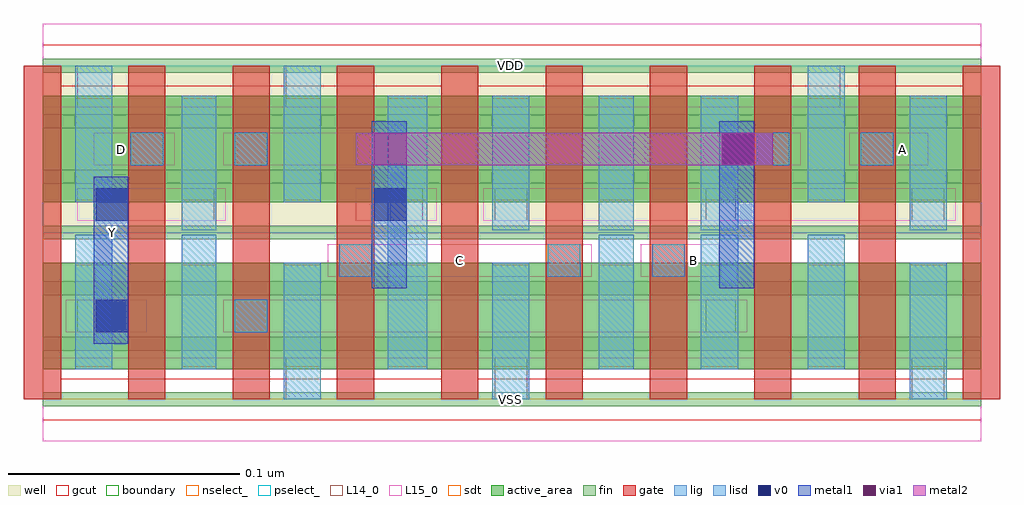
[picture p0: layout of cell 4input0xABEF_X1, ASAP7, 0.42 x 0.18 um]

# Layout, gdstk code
import gdstk
lib = gdstk.Library(unit=1e-6, precision=1e-09)
def R(c, l, rs):  # rectangles x0, y0, x1, y1
    for r in rs: c.add(gdstk.rectangle(r[:2], r[2:], *l))
def A(c, l, x, y, w, h, nx, ny, dx, dy):  # array of equal rectangles
    R(c, l, [(x+i*dx, y+j*dy, x+i*dx+w, y+j*dy+h) for i in range(nx) for j in range(ny)])
def P(c, l, *ps):  # polygons
    for p in ps: c.add(gdstk.Polygon(p, *l))
well = (1, 0)
fin = (2, 0)
gate = (7, 0)
gcut = (10, 0)
active_area = (11, 0)
nselect_ = (12, 0)
pselect_ = (13, 0)
L14_0 = (14, 0)
L15_0 = (15, 0)
lig = (16, 0)
lisd = (17, 0)
v0 = (18, 0)
metal1 = (19, 0)
metal2 = (20, 0)
via1 = (21, 0)
sdt = (88, 0)
boundary = (100, 0)

c_4input0xabef_x1 = lib.new_cell('4input0xABEF_X1')
R(c_4input0xabef_x1, well, [(0,0.072,0.405,0.144)])
A(c_4input0xabef_x1, fin, 0, -0.003, 0.405, 0.006, 1, 7, 0, 0.024)
A(c_4input0xabef_x1, gate, -0.008, 0, 0.016, 0.144, 10, 1, 0.045, 0)
P(c_4input0xabef_x1, gcut, [(0,-0.009),(0,0),(-0.008,0),(-0.008,0.135),(0.008,0.135),(0.008,0.009),(0.172,0.009),(0.172,0.135),(0.188,0.135),(0.188,0.009),(0.397,0.009),(0.397,0.135),(-0.008,0.135),(-0.008,0.144),(0,0.144),(0,0.153),(0.405,0.153),(0.405,0.144),(0.413,0.144),(0.413,0),(0.405,0),(0.405,-0.009)])
R(c_4input0xabef_x1, active_area, [(0,0.013,0.405,0.059), (0,0.085,0.405,0.131)])
R(c_4input0xabef_x1, nselect_, [(0,0,0.405,0.072)])
R(c_4input0xabef_x1, pselect_, [(0,0.072,0.405,0.144)])
R(c_4input0xabef_x1, L14_0, [(0.105,0,0.12,0.018), (0.195,0,0.209,0.018), (0.375,0,0.389,0.018), (0.015,0.029,0.03,0.043), (0.083,0.029,0.097,0.043), (0.286,0.029,0.299,0.043), (0.128,0.053,0.142,0.067), (0.218,0.053,0.232,0.067), (0.263,0.053,0.277,0.067), (0.06,0.077,0.074,0.091), (0.15,0.077,0.164,0.091), (0.195,0.077,0.209,0.091), (0.286,0.077,0.299,0.091), (0.375,0.077,0.389,0.091), (0.038,0.101,0.052,0.115), (0.083,0.101,0.097,0.115), (0.24,0.101,0.254,0.115), (0.308,0.101,0.322,0.115), (0.353,0.101,0.367,0.115), (0.015,0.126,0.03,0.144), (0.105,0.126,0.12,0.144), (0.33,0.126,0.344,0.144)])
R(c_4input0xabef_x1, L15_0, [(0,-0.018,0.405,0.018), (0.01,0.029,0.045,0.043), (0.078,0.029,0.304,0.043), (0.123,0.053,0.237,0.067), (0.258,0.053,0.292,0.067), (0.015,0.077,0.079,0.091), (0.135,0.077,0.17,0.091), (0.19,0.077,0.394,0.091), (0.022,0.101,0.057,0.115), (0.078,0.101,0.26,0.115), (0.285,0.101,0.327,0.115), (0.348,0.101,0.382,0.115), (0,0.126,0.405,0.162)])
R(c_4input0xabef_x1, lig, [(0.083,0.029,0.097,0.043), (0.128,0.053,0.142,0.067), (0.218,0.053,0.232,0.067), (0.263,0.053,0.277,0.067), (0.038,0.101,0.052,0.115), (0.083,0.101,0.097,0.115), (0.308,0.101,0.322,0.115), (0.353,0.101,0.367,0.115)])
A(c_4input0xabef_x1, lisd, 0.194, 0.073, 0.016, 0.058, 3, 1, 0.09, 0)
R(c_4input0xabef_x1, lisd, [(0.104,0,0.12,0.059), (0.194,0,0.21,0.059), (0.374,0,0.39,0.059), (0.014,0.013,0.03,0.071), (0.06,0.013,0.075,0.071), (0.149,0.013,0.166,0.131), (0.24,0.013,0.255,0.071), (0.284,0.013,0.3,0.071), (0.33,0.013,0.346,0.071), (0.06,0.073,0.075,0.131), (0.24,0.073,0.255,0.131), (0.014,0.085,0.03,0.144), (0.104,0.085,0.12,0.144), (0.33,0.085,0.346,0.144)])
R(c_4input0xabef_x1, v0, [(0.023,0.029,0.037,0.043), (0.023,0.077,0.037,0.091), (0.143,0.077,0.157,0.091), (0.293,0.101,0.307,0.115)])
R(c_4input0xabef_x1, metal1, [(0.022,0.024,0.037,0.096), (0.142,0.048,0.157,0.12), (0.292,0.048,0.307,0.12)])
R(c_4input0xabef_x1, metal2, [(0.135,0.101,0.315,0.115)])
R(c_4input0xabef_x1, via1, [(0.143,0.101,0.157,0.115), (0.293,0.101,0.307,0.115)])
A(c_4input0xabef_x1, sdt, 0.014, 0.014, 0.016, 0.044, 4, 2, 0.09, 0.072)
R(c_4input0xabef_x1, sdt, [(0.06,0.014,0.075,0.058), (0.149,0.014,0.166,0.058), (0.24,0.014,0.255,0.058), (0.33,0.014,0.346,0.058), (0.374,0.014,0.39,0.058), (0.06,0.086,0.075,0.13), (0.149,0.086,0.166,0.13), (0.24,0.086,0.255,0.13), (0.33,0.086,0.346,0.13), (0.374,0.086,0.39,0.13)])
R(c_4input0xabef_x1, boundary, [(0,0,0.405,0.144)])
c_4input0xabef_x1.add(gdstk.Label('B', (0.281,0.06), layer=15, texttype=251))
c_4input0xabef_x1.add(gdstk.Label('VSS', (0.202,0), layer=15, texttype=251))
c_4input0xabef_x1.add(gdstk.Label('VDD', (0.202,0.144), layer=15, texttype=251))
c_4input0xabef_x1.add(gdstk.Label('D', (0.034,0.108), layer=15, texttype=251))
c_4input0xabef_x1.add(gdstk.Label('VSS', (0.202,0), layer=15, texttype=251))
c_4input0xabef_x1.add(gdstk.Label('VDD', (0.202,0.144), layer=15, texttype=251))
c_4input0xabef_x1.add(gdstk.Label('VSS', (0.202,0), layer=15, texttype=251))
c_4input0xabef_x1.add(gdstk.Label('VDD', (0.202,0.144), layer=15, texttype=251))
c_4input0xabef_x1.add(gdstk.Label('C', (0.18,0.06), layer=15, texttype=251))
c_4input0xabef_x1.add(gdstk.Label('VSS', (0.202,0), layer=15, texttype=251))
c_4input0xabef_x1.add(gdstk.Label('VDD', (0.202,0.144), layer=15, texttype=251))
c_4input0xabef_x1.add(gdstk.Label('A', (0.371,0.108), layer=15, texttype=251))
c_4input0xabef_x1.add(gdstk.Label('VSS', (0.202,0), layer=15, texttype=251))
c_4input0xabef_x1.add(gdstk.Label('VDD', (0.202,0.144), layer=15, texttype=251))
c_4input0xabef_x1.add(gdstk.Label('VSS', (0.202,0), layer=3, texttype=251))
c_4input0xabef_x1.add(gdstk.Label('VSS', (0.202,0), layer=3, texttype=251))
c_4input0xabef_x1.add(gdstk.Label('VSS', (0.202,0), layer=3, texttype=251))
c_4input0xabef_x1.add(gdstk.Label('VSS', (0.202,0), layer=3, texttype=251))
c_4input0xabef_x1.add(gdstk.Label('VSS', (0.202,0), layer=3, texttype=251))
c_4input0xabef_x1.add(gdstk.Label('VDD', (0.202,0.144), layer=1, texttype=251))
c_4input0xabef_x1.add(gdstk.Label('VDD', (0.202,0.144), layer=1, texttype=251))
c_4input0xabef_x1.add(gdstk.Label('VDD', (0.202,0.144), layer=1, texttype=251))
c_4input0xabef_x1.add(gdstk.Label('VDD', (0.202,0.144), layer=1, texttype=251))
c_4input0xabef_x1.add(gdstk.Label('VDD', (0.202,0.144), layer=1, texttype=251))
c_4input0xabef_x1.add(gdstk.Label('Y', (0.03,0.072), layer=19, texttype=251))

lib.write_gds('4input0xABEF_X1.gds')
